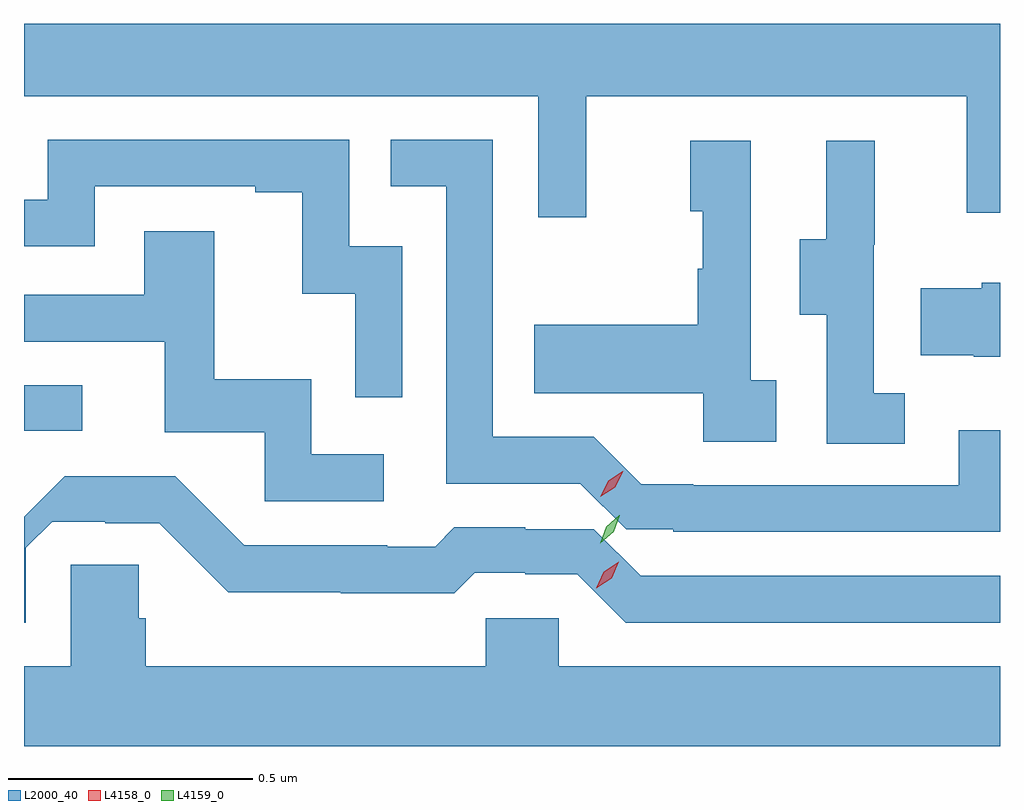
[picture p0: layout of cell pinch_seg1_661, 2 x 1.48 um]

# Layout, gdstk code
import gdstk
lib = gdstk.Library(unit=1e-6, precision=1e-09)
def R(c, l, rs):  # rectangles x0, y0, x1, y1
    for r in rs: c.add(gdstk.rectangle(r[:2], r[2:], *l))
def P(c, l, *ps):  # polygons
    for p in ps: c.add(gdstk.Polygon(p, *l))
L2000_40 = (2000, 40)
L4158_0 = (4158, 0)
L4159_0 = (4159, 0)

pinch_seg1_661 = lib.new_cell('pinch_seg1_661')
R(pinch_seg1_661, L2000_40, [(1136.855,504.426,1136.974,504.519)])
P(pinch_seg1_661, L2000_40, [(1138.007,505.112),(1138.787,505.112),(1138.787,504.873),(1138.855,504.873),(1138.855,505.26),(1136.855,505.26),(1136.855,505.112),(1137.909,505.112),(1137.909,504.864),(1138.007,504.864)],
  [(1138.855,504.427),(1138.77,504.427),(1138.77,504.315),(1138.226,504.315),(1138.226,504.317),(1138.12,504.317),(1138.023,504.414),(1137.816,504.414),(1137.816,505.023),(1137.607,505.023),(1137.607,504.927),(1137.72,504.927),(1137.72,504.318),(1137.995,504.318),(1138.089,504.224),(1138.185,504.224),(1138.185,504.219),(1138.855,504.219)],
  [(1137.63,504.804),(1137.522,504.804),(1137.522,505.023),(1136.904,505.023),(1136.904,504.9),(1136.855,504.9),(1136.855,504.804),(1137,504.804),(1137,504.927),(1137.329,504.927),(1137.329,504.915),(1137.425,504.915),(1137.425,504.707),(1137.534,504.707),(1137.534,504.495),(1137.63,504.495)],
  [(1138.396,504.53),(1138.344,504.53),(1138.344,505.021),(1138.22,505.021),(1138.22,504.876),(1138.246,504.876),(1138.246,504.758),(1138.236,504.758),(1138.236,504.643),(1137.901,504.643),(1137.901,504.503),(1138.247,504.503),(1138.247,504.404),(1138.396,504.404)],
  [(1138.66,504.503),(1138.596,504.503),(1138.596,504.807),(1138.598,504.807),(1138.598,505.021),(1138.499,505.021),(1138.499,504.819),(1138.445,504.819),(1138.445,504.664),(1138.5,504.664),(1138.5,504.4),(1138.66,504.4)],
  [(1137.592,504.378),(1137.444,504.378),(1137.444,504.532),(1137.245,504.532),(1137.245,504.835),(1137.101,504.835),(1137.101,504.705),(1136.855,504.705),(1136.855,504.609),(1137.143,504.609),(1137.143,504.423),(1137.348,504.423),(1137.348,504.282),(1137.592,504.282)],
  [(1138.855,504.73),(1138.818,504.73),(1138.818,504.718),(1138.693,504.718),(1138.693,504.581),(1138.801,504.581),(1138.801,504.578),(1138.855,504.578)],
  [(1136.859,504.186),(1136.913,504.24),(1137.021,504.24),(1137.021,504.237),(1137.132,504.237),(1137.274,504.095),(1137.504,504.095),(1137.504,504.093),(1137.737,504.093),(1137.779,504.135),(1137.882,504.135),(1137.882,504.132),(1137.989,504.132),(1138.088,504.033),(1138.855,504.033),(1138.855,504.129),(1138.119,504.129),(1138.023,504.224),(1137.882,504.224),(1137.882,504.228),(1137.737,504.228),(1137.698,504.189),(1137.599,504.189),(1137.599,504.192),(1137.306,504.192),(1137.165,504.333),(1136.938,504.333),(1136.855,504.25),(1136.855,504.033),(1136.859,504.033)],
  [(1138.855,503.944),(1137.951,503.944),(1137.951,504.042),(1137.801,504.042),(1137.801,503.944),(1137.104,503.944),(1137.104,504.042),(1137.09,504.042),(1137.09,504.152),(1136.951,504.152),(1136.951,503.944),(1136.855,503.944),(1136.855,503.78),(1138.855,503.78)])
P(pinch_seg1_661, L4158_0, [(1138.028,504.103),(1138.028,504.104),(1138.043,504.137),(1138.074,504.158),(1138.074,504.158),(1138.074,504.158),(1138.059,504.124),(1138.028,504.103)],
  [(1138.036,504.291),(1138.036,504.291),(1138.052,504.324),(1138.082,504.343),(1138.083,504.343),(1138.083,504.343),(1138.067,504.31),(1138.036,504.291)])
P(pinch_seg1_661, L4159_0, [(1138.036,504.196),(1138.036,504.196),(1138.048,504.23),(1138.075,504.253),(1138.076,504.253),(1138.076,504.253),(1138.064,504.219),(1138.036,504.196)])

lib.write_gds('pinch_seg1_661.gds')
